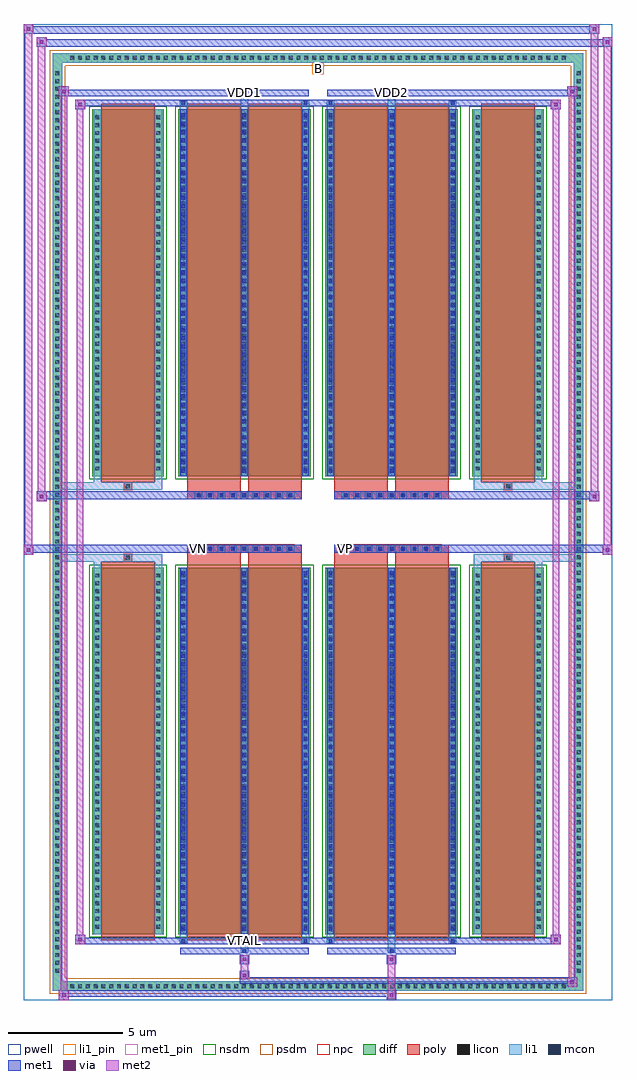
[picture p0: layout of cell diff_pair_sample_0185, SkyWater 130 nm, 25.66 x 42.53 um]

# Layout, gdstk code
import gdstk
lib = gdstk.Library(unit=1e-6, precision=5e-09)
def R(c, l, rs):  # rectangles x0, y0, x1, y1
    for r in rs: c.add(gdstk.rectangle(r[:2], r[2:], *l))
def A(c, l, x, y, w, h, nx, ny, dx, dy):  # array of equal rectangles
    R(c, l, [(x+i*dx, y+j*dy, x+i*dx+w, y+j*dy+h) for i in range(nx) for j in range(ny)])
def P(c, l, *ps):  # polygons
    for p in ps: c.add(gdstk.Polygon(p, *l))
pwell = (64, 44)
diff = (65, 20)
poly = (66, 20)
licon = (66, 44)
li1_pin = (67, 16)
li1 = (67, 20)
mcon = (67, 44)
met1_pin = (68, 16)
met1 = (68, 20)
via = (68, 44)
met2 = (69, 20)
nsdm = (93, 44)
psdm = (94, 20)
npc = (95, 20)

diff_pair_sample_0185 = lib.new_cell('diff_pair_sample_0185')
R(diff_pair_sample_0185, pwell, [(-12.83,-20.83,12.83,21.7), (-10.15,-19.02,-0.01,-0.8), (0.01,-19.02,10.15,-0.8), (-10.15,0.8,-0.01,19.02), (0.01,0.8,10.15,19.02)])
A(diff_pair_sample_0185, diff, -10.915, -20.43, 0.41, 0.41, 64, 2, 0.34, 40.45)
A(diff_pair_sample_0185, diff, -11.56, -19.755, 0.41, 0.41, 1, 116, 0, 0.34)
A(diff_pair_sample_0185, diff, 11.15, -19.755, 0.41, 0.41, 1, 116, 0, 0.34)
R(diff_pair_sample_0185, diff, [(-10.915,-20.43,10.915,-20.02), (-11.56,-19.755,-11.15,19.755), (11.15,-19.755,11.56,19.755), (-9.84,-17.975,-6.73,-1.985), (-6.09,-17.975,-0.32,-1.985), (0.32,-17.975,6.09,-1.985), (6.73,-17.975,9.84,-1.985), (-9.84,1.985,-6.73,17.975), (-6.09,1.985,-0.32,17.975), (0.32,1.985,6.09,17.975), (6.73,1.985,9.84,17.975), (-10.915,20.02,10.915,20.43)])
P(diff_pair_sample_0185, diff, [(11.56,20.43),(-11.56,20.43),(-11.56,-20.02),(-11.15,-20.02),(-11.15,20.02),(11.15,20.02),(11.15,-20.02),(-11.15,-20.02),(-11.56,-20.02),(-11.56,-20.43),(11.56,-20.43)])
A(diff_pair_sample_0185, poly, -5.37, -1.33, 0.33, 0.33, 9, 2, 0.5, 2.33)
A(diff_pair_sample_0185, poly, 1.04, -1.33, 0.33, 0.33, 9, 2, 0.5, 2.33)
R(diff_pair_sample_0185, poly, [(-9.45,-18.23,-7.12,-1.73), (-5.7,-18.23,-3.37,-1.73), (-3.04,-18.23,-0.71,-1.73), (0.71,-18.23,3.04,-1.73), (3.37,-18.23,5.7,-1.73), (7.12,-18.23,9.45,-1.73), (-8.45,-1.73,-8.12,-1.4), (-8.45,-1.73,-8.12,-1.4), (-5.7,-1.73,-3.37,-1.33), (-3.04,-1.73,-0.71,-1.33), (0.71,-1.73,3.04,-1.33), (3.37,-1.73,5.7,-1.33), (8.12,-1.73,8.45,-1.4), (8.12,-1.73,8.45,-1.4), (-5.7,-1.33,-0.71,-1), (0.71,-1.33,5.7,-1), (-5.7,1,-0.71,1.33), (0.71,1,5.7,1.33), (-5.7,1.33,-3.37,1.73), (-3.04,1.33,-0.71,1.73), (0.71,1.33,3.04,1.73), (3.37,1.33,5.7,1.73), (-8.45,1.4,-8.12,1.73), (-8.45,1.4,-8.12,1.73), (8.12,1.4,8.45,1.73), (8.12,1.4,8.45,1.73), (-9.45,1.73,-7.12,18.23), (-5.7,1.73,-3.37,18.23), (-3.04,1.73,-0.71,18.23), (0.71,1.73,3.04,18.23), (3.37,1.73,5.7,18.23), (7.12,1.73,9.45,18.23)])
A(diff_pair_sample_0185, licon, -10.795, -20.31, 0.17, 0.17, 64, 2, 0.34, 40.45)
A(diff_pair_sample_0185, licon, -11.44, -19.635, 0.17, 0.17, 1, 116, 0, 0.34)
A(diff_pair_sample_0185, licon, 11.27, -19.635, 0.17, 0.17, 1, 116, 0, 0.34)
A(diff_pair_sample_0185, licon, -9.7, -17.715, 0.17, 0.17, 1, 46, 0, 0.34)
A(diff_pair_sample_0185, licon, -7.04, -17.715, 0.17, 0.17, 1, 46, 0, 0.34)
A(diff_pair_sample_0185, licon, -5.95, -17.715, 0.17, 0.17, 3, 46, 2.66, 0.34)
A(diff_pair_sample_0185, licon, 0.46, -17.715, 0.17, 0.17, 3, 46, 2.66, 0.34)
A(diff_pair_sample_0185, licon, 6.87, -17.715, 0.17, 0.17, 1, 46, 0, 0.34)
A(diff_pair_sample_0185, licon, 9.53, -17.715, 0.17, 0.17, 1, 46, 0, 0.34)
A(diff_pair_sample_0185, licon, -5.29, -1.25, 0.17, 0.17, 9, 2, 0.5, 2.33)
A(diff_pair_sample_0185, licon, 1.12, -1.25, 0.17, 0.17, 9, 2, 0.5, 2.33)
A(diff_pair_sample_0185, licon, -9.7, 2.245, 0.17, 0.17, 1, 46, 0, 0.34)
A(diff_pair_sample_0185, licon, -7.04, 2.245, 0.17, 0.17, 1, 46, 0, 0.34)
A(diff_pair_sample_0185, licon, -5.95, 2.245, 0.17, 0.17, 3, 46, 2.66, 0.34)
A(diff_pair_sample_0185, licon, 0.46, 2.245, 0.17, 0.17, 3, 46, 2.66, 0.34)
A(diff_pair_sample_0185, licon, 6.87, 2.245, 0.17, 0.17, 1, 46, 0, 0.34)
A(diff_pair_sample_0185, licon, 9.53, 2.245, 0.17, 0.17, 1, 46, 0, 0.34)
R(diff_pair_sample_0185, licon, [(-8.37,-1.65,-8.2,-1.48), (8.2,-1.65,8.37,-1.48), (-8.37,1.48,-8.2,1.65), (8.2,1.48,8.37,1.65)])
R(diff_pair_sample_0185, li1_pin, [(-0.25,19.52,0.25,20.02)])
A(diff_pair_sample_0185, li1, -10.875, -20.39, 0.33, 0.33, 64, 2, 0.34, 40.45)
A(diff_pair_sample_0185, li1, -11.52, -19.715, 0.33, 0.33, 1, 116, 0, 0.34)
A(diff_pair_sample_0185, li1, 11.19, -19.715, 0.33, 0.33, 1, 116, 0, 0.34)
A(diff_pair_sample_0185, li1, -6.03, -17.975, 0.33, 15.99, 3, 2, 2.66, 19.96)
A(diff_pair_sample_0185, li1, 0.38, -17.975, 0.33, 15.99, 3, 2, 2.66, 19.96)
A(diff_pair_sample_0185, li1, -5.95, -17.805, 0.17, 0.17, 3, 44, 2.66, 0.36)
A(diff_pair_sample_0185, li1, -5.95, -17.805, 0.17, 15.65, 3, 2, 2.66, 19.96)
A(diff_pair_sample_0185, li1, 0.46, -17.805, 0.17, 0.17, 3, 44, 2.66, 0.36)
A(diff_pair_sample_0185, li1, 0.46, -17.805, 0.17, 15.65, 3, 2, 2.66, 19.96)
A(diff_pair_sample_0185, li1, -9.78, -17.795, 0.33, 0.33, 1, 46, 0, 0.34)
A(diff_pair_sample_0185, li1, -7.12, -17.795, 0.33, 0.33, 1, 46, 0, 0.34)
A(diff_pair_sample_0185, li1, -6.03, -17.795, 0.33, 0.33, 3, 46, 2.66, 0.34)
A(diff_pair_sample_0185, li1, 0.38, -17.795, 0.33, 0.33, 3, 46, 2.66, 0.34)
A(diff_pair_sample_0185, li1, 6.79, -17.795, 0.33, 0.33, 1, 46, 0, 0.34)
A(diff_pair_sample_0185, li1, 9.45, -17.795, 0.33, 0.33, 1, 46, 0, 0.34)
A(diff_pair_sample_0185, li1, -5.37, -1.33, 0.33, 0.33, 9, 2, 0.5, 2.33)
A(diff_pair_sample_0185, li1, 1.04, -1.33, 0.33, 0.33, 9, 2, 0.5, 2.33)
A(diff_pair_sample_0185, li1, -5.95, 2.155, 0.17, 0.17, 3, 44, 2.66, 0.36)
A(diff_pair_sample_0185, li1, 0.46, 2.155, 0.17, 0.17, 3, 44, 2.66, 0.36)
A(diff_pair_sample_0185, li1, -9.78, 2.165, 0.33, 0.33, 1, 46, 0, 0.34)
A(diff_pair_sample_0185, li1, -7.12, 2.165, 0.33, 0.33, 1, 46, 0, 0.34)
A(diff_pair_sample_0185, li1, -6.03, 2.165, 0.33, 0.33, 3, 46, 2.66, 0.34)
A(diff_pair_sample_0185, li1, 0.38, 2.165, 0.33, 0.33, 3, 46, 2.66, 0.34)
A(diff_pair_sample_0185, li1, 6.79, 2.165, 0.33, 0.33, 1, 46, 0, 0.34)
A(diff_pair_sample_0185, li1, 9.45, 2.165, 0.33, 0.33, 1, 46, 0, 0.34)
R(diff_pair_sample_0185, li1, [(-11.56,-20.43,-11.15,-20.02), (-11.56,-20.43,-11.15,-20.02), (-11.15,-20.43,11.15,-20.02), (11.15,-20.43,11.56,-20.02), (11.15,-20.43,11.56,-20.02), (-11.56,-20.02,-11.15,20.02), (11.15,-20.02,11.56,20.02), (-3.37,-18.78,-3.04,-17.975), (-3.29,-18.78,-3.12,-18.61), (3.04,-18.78,3.37,-17.975), (3.12,-18.78,3.29,-18.61), (-6.03,-18.35,-5.7,-17.975), (-5.95,-18.35,-5.78,-18.18), (-0.71,-18.35,-0.38,-17.975), (-0.63,-18.35,-0.46,-18.18), (0.38,-18.35,0.71,-17.975), (0.46,-18.35,0.63,-18.18), (5.7,-18.35,6.03,-17.975), (5.78,-18.35,5.95,-18.18), (-9.78,-17.975,-9.45,-1.985), (-7.12,-17.975,-6.79,-1.985), (6.79,-17.975,7.12,-1.985), (9.45,-17.975,9.78,-1.985), (-9.78,-1.985,-9.45,-1.4), (-7.12,-1.985,-6.79,-1.4), (6.79,-1.985,7.12,-1.4), (9.45,-1.985,9.78,-1.4), (-11.56,-1.73,-8.45,-1.4), (-9.78,-1.73,-8.45,-1.4), (-8.45,-1.73,-8.12,-1.4), (-8.12,-1.73,-6.79,-1.4), (6.79,-1.73,8.12,-1.4), (8.12,-1.73,8.45,-1.4), (8.12,-1.73,11.56,-1.4), (8.45,-1.73,9.78,-1.4), (-11.56,1.4,-8.45,1.73), (-9.78,1.4,-8.45,1.73), (-9.78,1.4,-9.45,1.985), (-8.45,1.4,-8.12,1.73), (-8.12,1.4,-6.79,1.73), (-7.12,1.4,-6.79,1.985), (6.79,1.4,8.12,1.73), (6.79,1.4,7.12,1.985), (8.12,1.4,8.45,1.73), (8.12,1.4,11.56,1.73), (8.45,1.4,9.78,1.73), (9.45,1.4,9.78,1.985), (-9.78,1.985,-9.45,17.975), (-7.12,1.985,-6.79,17.975), (6.79,1.985,7.12,17.975), (9.45,1.985,9.78,17.975), (-6.03,17.975,-5.7,18.35), (-3.37,17.975,-3.04,18.78), (-0.71,17.975,-0.38,18.35), (0.38,17.975,0.71,18.35), (3.04,17.975,3.37,18.78), (5.7,17.975,6.03,18.35), (-5.95,18.18,-5.78,18.35), (-0.63,18.18,-0.46,18.35), (0.46,18.18,0.63,18.35), (5.78,18.18,5.95,18.35), (-3.29,18.61,-3.12,18.78), (3.12,18.61,3.29,18.78), (-11.56,20.02,-11.15,20.43), (-11.56,20.02,-11.15,20.43), (-11.15,20.02,11.15,20.43), (11.15,20.02,11.56,20.43), (11.15,20.02,11.56,20.43)])
A(diff_pair_sample_0185, mcon, -5.95, -17.805, 0.17, 0.17, 3, 44, 2.66, 0.36)
A(diff_pair_sample_0185, mcon, 0.46, -17.805, 0.17, 0.17, 3, 44, 2.66, 0.36)
A(diff_pair_sample_0185, mcon, -5.29, -1.25, 0.17, 0.17, 9, 2, 0.5, 2.33)
A(diff_pair_sample_0185, mcon, 1.12, -1.25, 0.17, 0.17, 9, 2, 0.5, 2.33)
A(diff_pair_sample_0185, mcon, -5.95, 2.155, 0.17, 0.17, 3, 44, 2.66, 0.36)
A(diff_pair_sample_0185, mcon, 0.46, 2.155, 0.17, 0.17, 3, 44, 2.66, 0.36)
R(diff_pair_sample_0185, mcon, [(-3.29,-18.78,-3.12,-18.61), (3.12,-18.78,3.29,-18.61), (-5.95,-18.35,-5.78,-18.18), (-0.63,-18.35,-0.46,-18.18), (0.46,-18.35,0.63,-18.18), (5.78,-18.35,5.95,-18.18), (-5.95,18.18,-5.78,18.35), (-0.63,18.18,-0.46,18.35), (0.46,18.18,0.63,18.35), (5.78,18.18,5.95,18.35), (-3.29,18.61,-3.12,18.78), (3.12,18.61,3.29,18.78)])
R(diff_pair_sample_0185, met1_pin, [(-3.34,-18.39,-3.07,-18.12), (-5.34,-1.29,-5.07,-1.02), (1.07,-1.29,1.34,-1.02), (-3.34,18.57,-3.07,18.84), (3.07,18.57,3.34,18.84)])
A(diff_pair_sample_0185, met1, -6.01, -17.975, 0.29, 15.99, 3, 2, 2.66, 19.96)
A(diff_pair_sample_0185, met1, 0.4, -17.975, 0.29, 15.99, 3, 2, 2.66, 19.96)
A(diff_pair_sample_0185, met1, -6.01, -17.865, 0.29, 0.29, 3, 44, 2.66, 0.36)
A(diff_pair_sample_0185, met1, 0.4, -17.865, 0.29, 0.29, 3, 44, 2.66, 0.36)
A(diff_pair_sample_0185, met1, -5.35, -1.31, 0.29, 0.29, 9, 2, 0.5, 2.33)
A(diff_pair_sample_0185, met1, 1.06, -1.31, 0.29, 0.29, 9, 2, 0.5, 2.33)
A(diff_pair_sample_0185, met1, -6.01, 2.095, 0.29, 0.29, 3, 44, 2.66, 0.36)
A(diff_pair_sample_0185, met1, 0.4, 2.095, 0.29, 0.29, 3, 44, 2.66, 0.36)
R(diff_pair_sample_0185, met1, [(-11.29,-20.83,-10.86,-20.4), (2.99,-20.83,3.42,-20.4), (-11.29,-20.69,3.42,-20.4), (10.86,-20.26,11.29,-19.83), (-3.42,-20.12,11.29,-19.83), (-3.42,-19.98,-2.99,-19.55), (-3.42,-19.27,-2.99,-18.84), (2.99,-19.27,3.42,-18.84), (-6.01,-18.84,-0.4,-18.55), (-3.35,-18.84,-3.06,-18.55), (0.4,-18.84,6.01,-18.55), (3.06,-18.84,3.35,-18.55), (-10.58,-18.41,-10.15,-17.98), (-10.58,-18.41,-6.01,-18.12), (-6.01,-18.41,-5.72,-18.12), (-6.01,-18.41,-0.4,-18.12), (-0.69,-18.41,-0.4,-18.12), (-0.4,-18.41,0.4,-18.12), (0.4,-18.41,0.69,-18.12), (0.4,-18.41,6.01,-18.12), (5.72,-18.41,6.01,-18.12), (6.01,-18.41,10.58,-18.12), (10.15,-18.41,10.58,-17.98), (-12.83,-1.43,-12.4,-1), (12.4,-1.43,12.83,-1), (-12.83,-1.33,-0.71,-1), (-5.7,-1.33,-0.71,-1), (0.71,-1.33,5.7,-1), (0.71,-1.33,12.83,-1), (-12.26,0.9,-11.83,1.33), (11.83,0.9,12.26,1.33), (-12.26,1,-5.7,1.33), (-5.7,1,-0.71,1.33), (0.71,1,5.7,1.33), (5.7,1,12.26,1.33), (-10.58,17.98,-10.15,18.41), (10.15,17.98,10.58,18.41), (-10.58,18.12,-6.01,18.41), (-6.01,18.12,-5.72,18.41), (-6.01,18.12,-0.4,18.41), (-0.69,18.12,-0.4,18.41), (-0.4,18.12,0.4,18.41), (0.4,18.12,0.69,18.41), (0.4,18.12,6.01,18.41), (5.72,18.12,6.01,18.41), (6.01,18.12,10.58,18.41), (-11.29,18.55,-10.86,18.98), (-11.29,18.55,-6.01,18.84), (-6.01,18.55,-0.4,18.84), (-3.35,18.55,-3.06,18.84), (0.4,18.55,6.01,18.84), (3.06,18.55,3.35,18.84), (6.01,18.55,11.29,18.84), (10.86,18.55,11.29,18.98), (-12.26,20.7,-11.83,21.13), (-12.26,20.7,-10.15,21.03), (-10.15,20.7,10.15,21.03), (10.15,20.7,12.83,21.03), (12.4,20.7,12.83,21.13), (-12.83,21.27,-12.4,21.7), (-12.83,21.27,-10.15,21.6), (-10.15,21.27,10.15,21.6), (10.15,21.27,12.26,21.6), (11.83,21.27,12.26,21.7)])
R(diff_pair_sample_0185, via, [(-11.15,-20.69,-11,-20.54), (3.13,-20.69,3.28,-20.54), (11,-20.12,11.15,-19.97), (-3.28,-19.84,-3.13,-19.69), (-3.28,-19.13,-3.13,-18.98), (3.13,-19.13,3.28,-18.98), (-10.44,-18.27,-10.29,-18.12), (10.29,-18.27,10.44,-18.12), (-12.69,-1.29,-12.54,-1.14), (12.54,-1.29,12.69,-1.14), (-12.12,1.04,-11.97,1.19), (11.97,1.04,12.12,1.19), (-10.44,18.12,-10.29,18.27), (10.29,18.12,10.44,18.27), (-11.15,18.69,-11,18.84), (11,18.69,11.15,18.84), (-12.12,20.84,-11.97,20.99), (12.54,20.84,12.69,20.99), (-12.69,21.41,-12.54,21.56), (11.97,21.41,12.12,21.56)])
R(diff_pair_sample_0185, met2, [(-11.29,-20.83,-10.86,-20.4), (-11.22,-20.83,-10.93,18.98), (-10.93,-20.83,-10.86,-20.4), (-11.24,-20.78,-10.91,-20.45), (3.04,-20.78,3.37,-20.45), (3.04,-20.45,3.37,-19.22), (10.86,-20.26,11.29,-19.83), (10.93,-20.26,11.22,18.98), (11.22,-20.26,11.29,-19.83), (10.91,-20.21,11.24,-19.88), (-3.37,-19.93,-3.04,-19.6), (-3.37,-19.6,-3.04,-19.22), (-3.37,-19.22,-3.04,-18.89), (3.04,-19.22,3.37,-18.89), (-10.58,-18.41,-10.15,-17.98), (-10.51,-18.41,-10.22,18.41), (-10.22,-18.41,-10.15,-17.98), (10.15,-18.41,10.58,-17.98), (10.22,-18.41,10.51,18.41), (10.51,-18.41,10.58,-17.98), (-10.53,-18.36,-10.2,-18.03), (10.2,-18.36,10.53,-18.03), (-12.83,-1.43,-12.4,-1), (-12.78,-1.43,-12.45,21.7), (-12.45,-1.43,-12.4,-1), (12.4,-1.43,12.83,-1), (12.45,-1.43,12.78,21.13), (12.78,-1.43,12.83,-1), (-12.78,-1.38,-12.45,-1.05), (12.45,-1.38,12.78,-1.05), (-12.26,0.9,-11.83,1.33), (-12.21,0.9,-11.88,21.13), (-11.88,0.9,-11.83,1.33), (11.83,0.9,12.26,1.33), (11.88,0.9,12.21,21.7), (12.21,0.9,12.26,1.33), (-12.21,0.95,-11.88,1.28), (11.88,0.95,12.21,1.28), (-10.58,17.98,-10.15,18.41), (-10.22,17.98,-10.15,18.41), (10.15,17.98,10.58,18.41), (10.51,17.98,10.58,18.41), (-10.53,18.03,-10.2,18.36), (10.2,18.03,10.53,18.36), (-11.29,18.55,-10.86,18.98), (-10.93,18.55,-10.86,18.98), (10.86,18.55,11.29,18.98), (11.22,18.55,11.29,18.98), (-11.24,18.6,-10.91,18.93), (10.91,18.6,11.24,18.93), (-12.26,20.7,-11.83,21.13), (-11.88,20.7,-11.83,21.13), (12.4,20.7,12.83,21.13), (12.78,20.7,12.83,21.13), (-12.21,20.75,-11.88,21.08), (12.45,20.75,12.78,21.08), (-12.83,21.27,-12.4,21.7), (-12.45,21.27,-12.4,21.7), (11.83,21.27,12.26,21.7), (12.21,21.27,12.26,21.7), (-12.78,21.32,-12.45,21.65), (11.88,21.32,12.21,21.65)])
R(diff_pair_sample_0185, nsdm, [(-9.97,-18.105,-6.6,-1.855), (-6.22,-18.105,-0.19,-1.855), (0.19,-18.105,6.22,-1.855), (6.6,-18.105,9.97,-1.855), (-9.97,1.855,-6.6,18.105), (-6.22,1.855,-0.19,18.105), (0.19,1.855,6.22,18.105), (6.6,1.855,9.97,18.105)])
P(diff_pair_sample_0185, psdm, [(11.69,20.56),(-11.69,20.56),(-11.69,-19.89),(-11.02,-19.89),(-11.02,19.89),(11.02,19.89),(11.02,-19.89),(-11.02,-19.89),(-11.69,-19.89),(-11.69,-20.56),(11.69,-20.56)])
A(diff_pair_sample_0185, npc, -5.39, -1.35, 0.37, 0.37, 9, 2, 0.5, 2.33)
A(diff_pair_sample_0185, npc, 1.02, -1.35, 0.37, 0.37, 9, 2, 0.5, 2.33)
R(diff_pair_sample_0185, npc, [(-8.47,-1.75,-8.1,-1.38), (8.1,-1.75,8.47,-1.38), (-5.39,-1.35,-4.52,-0.98), (-5.39,-1.35,-4.52,-0.98), (-4.89,-1.35,-4.02,-0.98), (-4.89,-1.35,-4.02,-0.98), (-4.39,-1.35,-3.52,-0.98), (-4.39,-1.35,-3.52,-0.98), (-3.89,-1.35,-3.02,-0.98), (-3.89,-1.35,-3.02,-0.98), (-3.39,-1.35,-2.52,-0.98), (-3.39,-1.35,-2.52,-0.98), (-2.89,-1.35,-2.02,-0.98), (-2.89,-1.35,-2.02,-0.98), (-2.39,-1.35,-1.52,-0.98), (-2.39,-1.35,-1.52,-0.98), (-1.89,-1.35,-1.02,-0.98), (-1.89,-1.35,-1.02,-0.98), (1.02,-1.35,1.89,-0.98), (1.02,-1.35,1.89,-0.98), (1.52,-1.35,2.39,-0.98), (1.52,-1.35,2.39,-0.98), (2.02,-1.35,2.89,-0.98), (2.02,-1.35,2.89,-0.98), (2.52,-1.35,3.39,-0.98), (2.52,-1.35,3.39,-0.98), (3.02,-1.35,3.89,-0.98), (3.02,-1.35,3.89,-0.98), (3.52,-1.35,4.39,-0.98), (3.52,-1.35,4.39,-0.98), (4.02,-1.35,4.89,-0.98), (4.02,-1.35,4.89,-0.98), (4.52,-1.35,5.39,-0.98), (4.52,-1.35,5.39,-0.98), (-5.39,0.98,-4.52,1.35), (-5.39,0.98,-4.52,1.35), (-4.89,0.98,-4.02,1.35), (-4.89,0.98,-4.02,1.35), (-4.39,0.98,-3.52,1.35), (-4.39,0.98,-3.52,1.35), (-3.89,0.98,-3.02,1.35), (-3.89,0.98,-3.02,1.35), (-3.39,0.98,-2.52,1.35), (-3.39,0.98,-2.52,1.35), (-2.89,0.98,-2.02,1.35), (-2.89,0.98,-2.02,1.35), (-2.39,0.98,-1.52,1.35), (-2.39,0.98,-1.52,1.35), (-1.89,0.98,-1.02,1.35), (-1.89,0.98,-1.02,1.35), (1.02,0.98,1.89,1.35), (1.02,0.98,1.89,1.35), (1.52,0.98,2.39,1.35), (1.52,0.98,2.39,1.35), (2.02,0.98,2.89,1.35), (2.02,0.98,2.89,1.35), (2.52,0.98,3.39,1.35), (2.52,0.98,3.39,1.35), (3.02,0.98,3.89,1.35), (3.02,0.98,3.89,1.35), (3.52,0.98,4.39,1.35), (3.52,0.98,4.39,1.35), (4.02,0.98,4.89,1.35), (4.02,0.98,4.89,1.35), (4.52,0.98,5.39,1.35), (4.52,0.98,5.39,1.35), (-8.47,1.38,-8.1,1.75), (8.1,1.38,8.47,1.75)])
diff_pair_sample_0185.add(gdstk.Label('VTAIL', (-3.205,-18.255), layer=68, texttype=5))
diff_pair_sample_0185.add(gdstk.Label('VN', (-5.205,-1.155), layer=68, texttype=5))
diff_pair_sample_0185.add(gdstk.Label('VP', (1.205,-1.155), layer=68, texttype=5))
diff_pair_sample_0185.add(gdstk.Label('B', (0,19.77), layer=67, texttype=5))
diff_pair_sample_0185.add(gdstk.Label('VDD2', (3.205,18.705), layer=68, texttype=5))
diff_pair_sample_0185.add(gdstk.Label('VDD1', (-3.205,18.705), layer=68, texttype=5))

lib.write_gds('diff_pair_sample_0185.gds')
